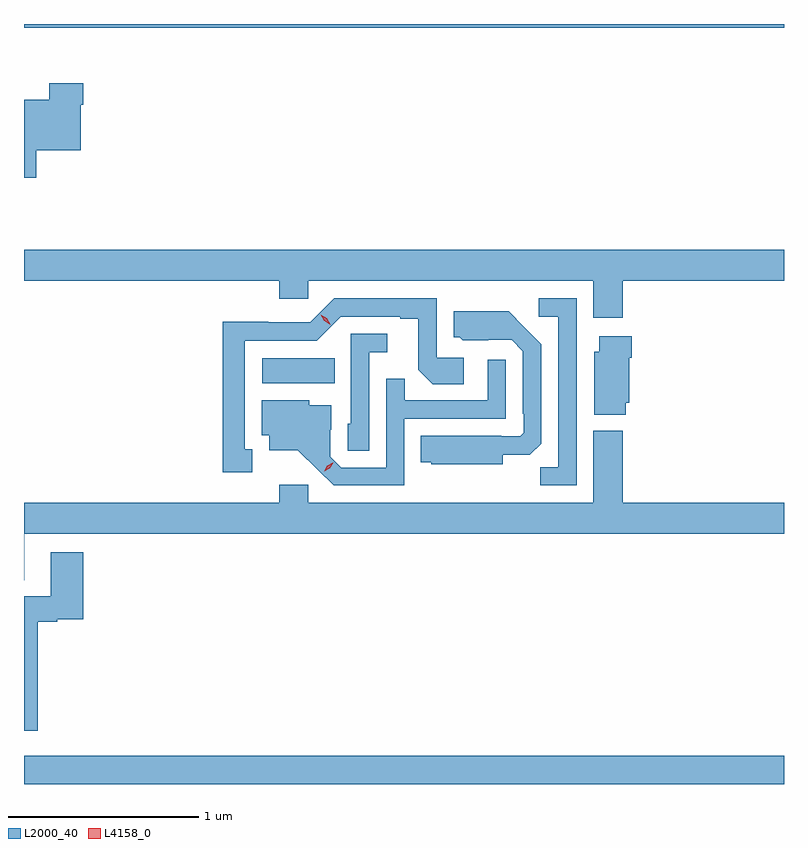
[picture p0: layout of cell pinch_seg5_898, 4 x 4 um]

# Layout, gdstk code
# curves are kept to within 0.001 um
import gdstk
lib = gdstk.Library(unit=1e-6, precision=1e-09)
def R(c, l, rs):  # rectangles x0, y0, x1, y1
    for r in rs: c.add(gdstk.rectangle(r[:2], r[2:], *l))
def P(c, l, *ps):  # polygons
    for p in ps: c.add(gdstk.Polygon(p, *l))
L2000_40 = (2000, 40)
L4158_0 = (4158, 0)

pinch_seg5_898 = lib.new_cell('pinch_seg5_898')
R(pinch_seg5_898, L2000_40, [(754.391,888.744,758.391,888.892), (755.646,890.852,756.026,890.986), (754.391,892.724,758.391,892.744)])
P(pinch_seg5_898, L2000_40, [(754.456,892.079),(754.69,892.079),(754.69,892.319),(754.703,892.319),(754.703,892.432),(754.525,892.432),(754.525,892.345),(754.391,892.345),(754.391,891.935),(754.456,891.935)],
  [(757.541,891.392),(758.391,891.392),(758.391,891.556),(754.391,891.556),(754.391,891.392),(755.735,891.392),(755.735,891.299),(755.886,891.299),(755.886,891.392),(757.388,891.392),(757.388,891.198),(757.541,891.198)],
  [(755.593,890.505),(755.554,890.505),(755.554,891.078),(755.931,891.078),(756.057,891.204),(756.371,891.204),(756.371,891.192),(756.465,891.192),(756.465,890.924),(756.541,890.848),(756.706,890.848),(756.706,890.988),(756.564,890.988),(756.564,891.3),(756.024,891.3),(755.898,891.174),(755.676,891.174),(755.676,891.176),(755.436,891.176),(755.436,890.385),(755.593,890.385)],
  [(757.299,891.3),(757.101,891.3),(757.101,891.204),(757.203,891.204),(757.203,890.411),(757.108,890.411),(757.108,890.316),(757.299,890.316)],
  [(756.91,890.477),(757.054,890.477),(757.113,890.536),(757.113,891.058),(756.941,891.232),(756.653,891.232),(756.653,891.096),(756.684,891.096),(756.7,891.08),(756.957,891.081),(757.017,891.021),(757.017,890.692),(757.02,890.692),(757.02,890.592),(757.002,890.574),(756.902,890.574),(756.902,890.578),(756.478,890.578),(756.478,890.438),(756.534,890.438),(756.534,890.426),(756.91,890.426)],
  [(756.207,891.017),(756.304,891.017),(756.304,891.114),(756.111,891.114),(756.111,890.64),(756.096,890.64),(756.096,890.497),(756.207,890.497)],
  [(757.558,890.751),(757.576,890.751),(757.576,890.987),(757.589,890.987),(757.589,891.1),(757.418,891.1),(757.418,891.018),(757.391,891.018),(757.391,890.687),(757.558,890.687)],
  [(756.393,890.667),(756.927,890.667),(756.927,890.977),(756.831,890.977),(756.831,890.763),(756.395,890.763),(756.395,890.876),(756.297,890.876),(756.297,890.409),(756.06,890.409),(756.003,890.466),(756.003,890.608),(756.007,890.608),(756.007,890.737),(755.892,890.737),(755.892,890.764),(755.642,890.764),(755.642,890.58),(755.681,890.58),(755.681,890.501),(755.833,890.501),(756.02,890.316),(756.393,890.316)],
  [(754.393,890.06),(758.391,890.06),(758.391,890.224),(757.541,890.224),(757.541,890.602),(757.388,890.602),(757.388,890.224),(755.886,890.224),(755.886,890.32),(755.735,890.32),(755.735,890.224),(754.391,890.224),(754.391,889.817),(754.393,889.817)],
  [(754.463,889.598),(754.566,889.598),(754.566,889.61),(754.703,889.61),(754.703,889.963),(754.532,889.963),(754.532,889.732),(754.391,889.732),(754.391,889.025),(754.463,889.025)])
P(pinch_seg5_898, L4158_0, [(756.002,891.162),(755.971,891.182),(755.954,891.215),(755.954,891.215),(755.954,891.215),(755.985,891.196),(756.002,891.163),(756.002,891.162)],
  [(755.97,890.389),(755.97,890.389),(755.987,890.419),(756.017,890.435),(756.018,890.435),(756.018,890.435),(756.001,890.405),(755.971,890.389)])

lib.write_gds('pinch_seg5_898.gds')
